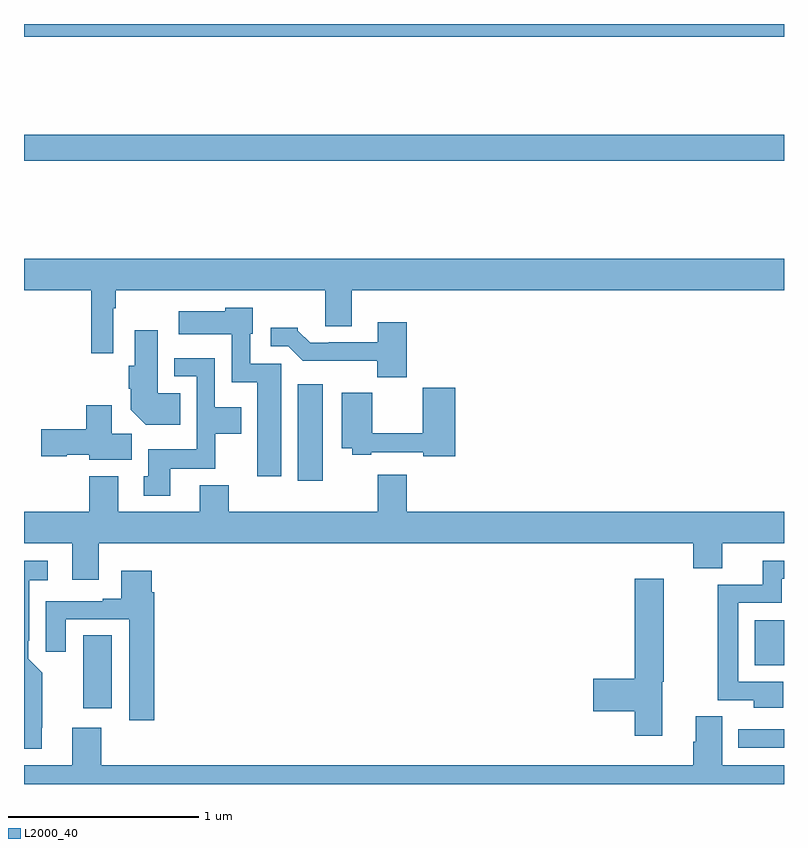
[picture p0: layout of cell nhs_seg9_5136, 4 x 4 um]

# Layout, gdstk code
import gdstk
lib = gdstk.Library(unit=1e-6, precision=1e-09)
def R(c, l, rs):  # rectangles x0, y0, x1, y1
    for r in rs: c.add(gdstk.rectangle(r[:2], r[2:], *l))
def P(c, l, *ps):  # polygons
    for p in ps: c.add(gdstk.Polygon(p, *l))
L2000_40 = (2000, 40)

nhs_seg9_5136 = lib.new_cell('nhs_seg9_5136')
R(nhs_seg9_5136, L2000_40, [(412.76,1180.692,413,1180.788), (409.313,1180.898,409.462,1181.282), (412.847,1181.126,413,1181.362), (410.441,1182.096,410.572,1182.604), (409,1183.78,413,1183.916), (409,1184.432,413,1184.5)])
P(nhs_seg9_5136, L2000_40, [(409.47,1183.004),(409.483,1183.004),(409.483,1183.1),(410.585,1183.1),(410.585,1182.91),(410.725,1182.91),(410.725,1183.1),(413,1183.1),(413,1183.264),(409,1183.264),(409,1183.1),(409.354,1183.1),(409.354,1182.768),(409.47,1182.768)],
  [(410.353,1182.711),(410.19,1182.711),(410.19,1182.87),(410.203,1182.87),(410.203,1183.006),(410.058,1183.006),(410.058,1182.988),(409.815,1182.988),(409.815,1182.866),(410.094,1182.866),(410.094,1182.614),(410.228,1182.614),(410.228,1182.12),(410.353,1182.12)],
  [(411.014,1182.931),(410.861,1182.931),(410.861,1182.825),(410.605,1182.825),(410.605,1182.822),(410.506,1182.822),(410.442,1182.886),(410.442,1182.901),(410.298,1182.901),(410.298,1182.804),(410.391,1182.804),(410.467,1182.728),(410.859,1182.728),(410.859,1182.641),(411.014,1182.641)],
  [(409.823,1182.556),(409.705,1182.556),(409.705,1182.889),(409.583,1182.889),(409.583,1182.702),(409.55,1182.702),(409.55,1182.58),(409.562,1182.58),(409.562,1182.47),(409.64,1182.392),(409.823,1182.392)],
  [(409.771,1182.158),(410.007,1182.158),(410.007,1182.344),(410.143,1182.344),(410.143,1182.484),(410.004,1182.484),(410.004,1182.741),(409.791,1182.741),(409.791,1182.645),(409.908,1182.645),(409.908,1182.262),(409.655,1182.262),(409.655,1182.12),(409.631,1182.12),(409.631,1182.018),(409.771,1182.018)],
  [(411.269,1182.586),(411.098,1182.586),(411.098,1182.347),(410.834,1182.347),(410.834,1182.559),(410.672,1182.559),(410.672,1182.266),(410.727,1182.266),(410.727,1182.234),(410.827,1182.234),(410.827,1182.246),(411.102,1182.246),(411.102,1182.226),(411.269,1182.226)],
  [(409.567,1182.344),(409.462,1182.344),(409.462,1182.493),(409.328,1182.493),(409.328,1182.368),(409.092,1182.368),(409.092,1182.226),(409.224,1182.226),(409.224,1182.233),(409.344,1182.233),(409.344,1182.206),(409.567,1182.206)],
  [(409.393,1181.768),(412.523,1181.768),(412.523,1181.635),(412.675,1181.635),(412.675,1181.768),(413,1181.768),(413,1181.932),(411.014,1181.932),(411.014,1182.127),(410.861,1182.127),(410.861,1181.932),(410.078,1181.932),(410.078,1182.073),(409.925,1182.073),(409.925,1181.932),(409.495,1181.932),(409.495,1182.121),(409.343,1182.121),(409.343,1181.932),(409,1181.932),(409,1181.768),(409.253,1181.768),(409.253,1181.574),(409.393,1181.574)],
  [(412.996,1181.037),(412.758,1181.037),(412.758,1181.454),(412.987,1181.454),(412.987,1181.58),(413,1181.58),(413,1181.676),(412.889,1181.676),(412.889,1181.55),(412.65,1181.55),(412.65,1180.941),(412.84,1180.941),(412.84,1180.901),(412.996,1180.901)],
  [(409.093,1180.795),(409.097,1180.795),(409.097,1181.086),(409.023,1181.16),(409.023,1181.254),(409.027,1181.254),(409.027,1181.573),(409.126,1181.573),(409.126,1181.674),(409,1181.674),(409,1180.685),(409.093,1180.685)],
  [(409.685,1181.51),(409.672,1181.51),(409.672,1181.623),(409.511,1181.623),(409.511,1181.476),(409.415,1181.476),(409.415,1181.463),(409.115,1181.463),(409.115,1181.196),(409.219,1181.196),(409.219,1181.367),(409.553,1181.367),(409.553,1180.836),(409.685,1180.836)],
  [(412.36,1181.037),(412.368,1181.037),(412.368,1181.581),(412.214,1181.581),(412.214,1181.054),(411.996,1181.054),(411.996,1180.883),(412.214,1180.883),(412.214,1180.755),(412.36,1180.755)],
  [(413,1180.6),(412.675,1180.6),(412.675,1180.856),(412.535,1180.856),(412.535,1180.722),(412.523,1180.722),(412.523,1180.6),(409.406,1180.6),(409.406,1180.795),(409.253,1180.795),(409.253,1180.6),(409,1180.6),(409,1180.5),(413,1180.5)])

lib.write_gds('nhs_seg9_5136.gds')
